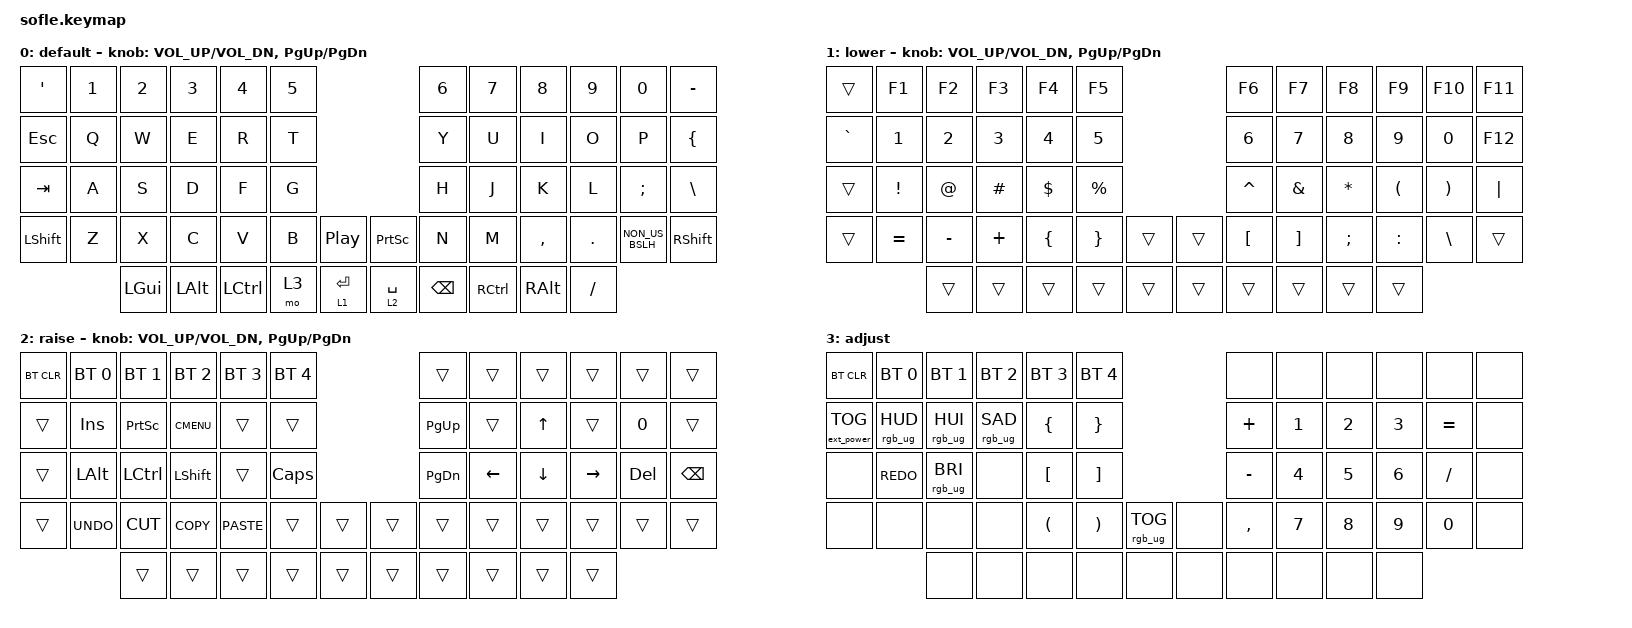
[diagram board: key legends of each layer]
/*
 * Copyright (c) 2020 The ZMK Contributors
 *
 * SPDX-License-Identifier: MIT
 */

#include <behaviors.dtsi>
#include <dt-bindings/zmk/bt.h>
#include <dt-bindings/zmk/ext_power.h>
#include <dt-bindings/zmk/keys.h>
#include <dt-bindings/zmk/rgb.h>

#define BASE 0
#define LOWER 1
#define RAISE 2
#define ADJUST 3

/ {
    // Activate ADJUST layer by pressing raise and lower

    conditional_layers {
        compatible = "zmk,conditional-layers";

        adjust_layer {
            if-layers = <LOWER RAISE>;
            then-layer = <ADJUST>;
        };
    };

    keymap {
        compatible = "zmk,keymap";

        default_layer {
            display-name = "default";

            // ------------------------------------------------------------------------------------------------------------
            // |   `   |  1  |  2  |  3   |  4   |  5   |                   |  6   |  7    |  8    |  9   |   0   |       |
            // |  ESC  |  Q  |  W  |  E   |  R   |  T   |                   |  Y   |  U    |  I    |  O   |   P   | BKSPC |
            // |  TAB  |  A  |  S  |  D   |  F   |  G   |                   |  H   |  J    |  K    |  L   |   ;   |   '   |
            // | SHIFT |  Z  |  X  |  C   |  V   |  B   |  MUTE  |  |       |  N   |  M    |  ,    |  .   |   /   | SHIFT |
            //               | GUI | ALT  | CTRL | LOWER|  ENTER |  | SPACE | RAISE| CTRL  | ALT   | GUI  |

            bindings = <
&kp APOS   &kp N1  &kp N2    &kp N3    &kp N4     &kp N5                                       &kp N6         &kp N7     &kp N8     &kp N9    &kp N0           &kp MINUS
&kp ESC    &kp Q   &kp W     &kp E     &kp R      &kp T                                        &kp Y          &kp U      &kp I      &kp O     &kp P            &kp LBRC
&kp TAB    &kp A   &kp S     &kp D     &kp F      &kp G                                        &kp H          &kp J      &kp K      &kp L     &kp SEMI         &kp BSLH
&kp LSHFT  &kp Z   &kp X     &kp C     &kp V      &kp B   &kp C_PLAY_PAUSE    &kp PRINTSCREEN  &kp N          &kp M      &kp COMMA  &kp DOT   &kp NON_US_BSLH  &kp RSHFT
                   &kp LGUI  &kp LALT  &kp LCTRL  &mo 3   &lt 1 ENTER         &lt 2 SPACE      &kp BACKSPACE  &kp RCTRL  &kp RALT   &kp FSLH
            >;

            sensor-bindings = <&inc_dec_kp C_VOL_UP C_VOL_DN &inc_dec_kp PG_UP PG_DN>;
        };

        lower_layer {
            display-name = "lower";

            // TODO: Some binds are waiting for shifted keycode support.
            // ------------------------------------------------------------------------------------------------------------
            // |       |  F1 |  F2 |  F3  |  F4  |  F5  |                   |  F6  |  F7   |  F8   |  F9  |  F10  |  F11  |
            // |   `   |  1  |  2  |  3   |  4   |  5   |                   |  6   |  7    |  8    |  9   |   0   |  F12  |
            // |       |  !  |  @  |  #   |  $   |  %   |                   |  ^   |  &    |  *    |  (   |   )   |   |   |
            // |       |  =  |  -  |  +   |  {   |  }   |        |  |       |  [   |  ]    |  ;    |  :   |   \   |       |
            //               |     |      |      |      |        |  |       |      |       |       |      |

            bindings = <
&trans     &kp F1     &kp F2     &kp F3    &kp F4    &kp F5                       &kp F6     &kp F7    &kp F8     &kp F9     &kp F10   &kp F11
&kp GRAVE  &kp N1     &kp N2     &kp N3    &kp N4    &kp N5                       &kp N6     &kp N7    &kp N8     &kp N9     &kp N0    &kp F12
&trans     &kp EXCL   &kp AT     &kp HASH  &kp DLLR  &kp PRCNT                    &kp CARET  &kp AMPS  &kp ASTRK  &kp LPAR   &kp RPAR  &kp PIPE
&trans     &kp EQUAL  &kp MINUS  &kp PLUS  &kp LBRC  &kp RBRC   &trans    &trans  &kp LBKT   &kp RBKT  &kp SEMI   &kp COLON  &kp BSLH  &trans
                      &trans     &trans    &trans    &trans     &trans    &trans  &trans     &trans    &trans     &trans
            >;

            sensor-bindings = <&inc_dec_kp C_VOL_UP C_VOL_DN &inc_dec_kp PG_UP PG_DN>;
        };

        raise_layer {
            display-name = "raise";

            // ------------------------------------------------------------------------------------------------------------
            // | BTCLR | BT1  | BT2  |  BT3  |  BT4  |  BT5 |                |      |      |       |      |       |       |
            // |       | INS  | PSCR | GUI   |       |      |                | PGUP |      |   ^   |      |       |       |
            // |       | ALT  | CTRL | SHIFT |       | CAPS |                | PGDN |   <- |   v   |  ->  |  DEL  | BKSPC |
            // |       | UNDO | CUT  | COPY  | PASTE |      |      |  |      |      |      |       |      |       |       |
            //                |      |       |       |      |      |  |      |      |      |       |      |

            bindings = <
&bt BT_CLR  &bt BT_SEL 0  &bt BT_SEL 1  &bt BT_SEL 2  &bt BT_SEL 3  &bt BT_SEL 4                    &trans     &trans    &trans    &trans     &trans   &trans
&trans      &kp INS       &kp PSCRN     &kp K_CMENU   &trans        &trans                          &kp PG_UP  &trans    &kp UP    &trans     &kp N0   &trans
&trans      &kp LALT      &kp LCTRL     &kp LSHFT     &trans        &kp CLCK                        &kp PG_DN  &kp LEFT  &kp DOWN  &kp RIGHT  &kp DEL  &kp BSPC
&trans      &kp K_UNDO    &kp K_CUT     &kp K_COPY    &kp K_PASTE   &trans        &trans    &trans  &trans     &trans    &trans    &trans     &trans   &trans
                          &trans        &trans        &trans        &trans        &trans    &trans  &trans     &trans    &trans    &trans
            >;

            sensor-bindings = <&inc_dec_kp C_VOL_UP C_VOL_DN &inc_dec_kp PG_UP PG_DN>;
        };

        adjust_layer {
            // ----------------------------------------------------------------------------------------------------------------------------
            // | BTCLR  |  BT1    |  BT2    |   BT3   |   BT4   |   BT5   |                  |      |      |       |      |       |       |
            // | EXTPWR | RGB_HUD | RGB_HUI | RGB_SAD | RGB_SAI | RGB_EFF |                  |      |      |       |      |       |       |
            // |        | RGB_BRD | RGB_BRI |         |         |         |                  |      |      |       |      |       |       |
            // |        |         |         |         |         |         | RGB_TOG | |      |      |      |       |      |       |       |
            //                    |         |         |         |         |         | |      |      |      |       |      |

            display-name = "adjust";
            bindings = <
&bt BT_CLR         &bt BT_SEL 0     &bt BT_SEL 1     &bt BT_SEL 2     &bt BT_SEL 3          &bt BT_SEL 4                                     &none      &none         &none         &none         &none         &none
&ext_power EP_TOG  &rgb_ug RGB_HUD  &rgb_ug RGB_HUI  &rgb_ug RGB_SAD  &kp LEFT_BRACE        &kp RIGHT_BRACE                                  &kp PLUS   &kp NUMBER_1  &kp NUMBER_2  &kp NUMBER_3  &kp EQUAL     &none
&none              &kp K_REDO       &rgb_ug RGB_BRI  &none            &kp LEFT_BRACKET      &kp RIGHT_BRACKET                                &kp MINUS  &kp NUMBER_4  &kp NUMBER_5  &kp NUMBER_6  &kp SLASH     &none
&none              &none            &none            &none            &kp LEFT_PARENTHESIS  &kp RIGHT_PARENTHESIS  &rgb_ug RGB_TOG    &none  &kp COMMA  &kp NUMBER_7  &kp NUMBER_8  &kp NUMBER_9  &kp NUMBER_0  &none
                                    &none            &none            &none                 &none                  &none              &none  &none      &none         &none         &none
            >;
        };
    };
};
